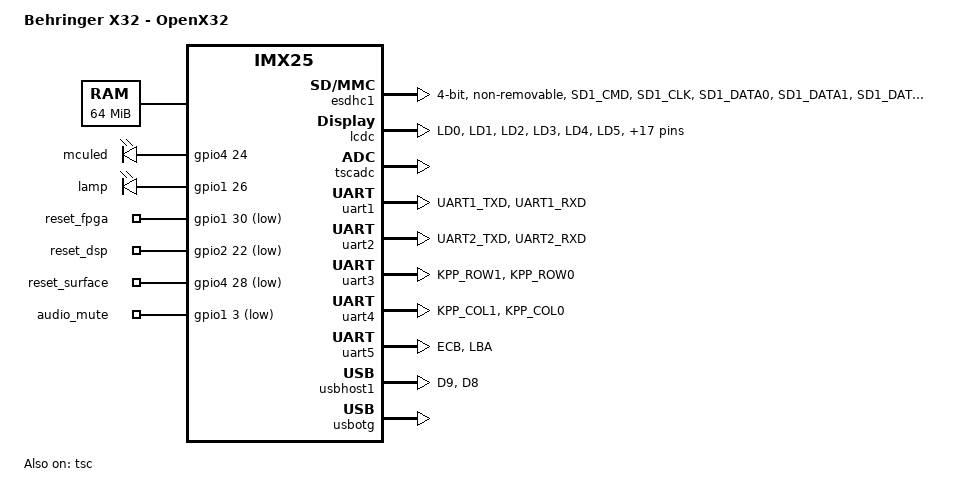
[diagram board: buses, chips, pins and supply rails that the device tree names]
// SPDX-License-Identifier: GPL-2.0+
//
// Copyright 2013 Freescale Semiconductor, Inc.

/dts-v1/;
#include <dt-bindings/gpio/gpio.h>
#include <dt-bindings/input/input.h>
#include <dt-bindings/sound/fsl-imx-audmux.h>
#include <arm/nxp/imx/imx25.dtsi>

/ {
	model = "Behringer X32 - OpenX32";
	compatible = "fsl,imx25-openx32", "fsl,imx25";

	memory@80000000 {
		device_type = "memory";
		reg = <0x80000000 0x04000000>;
	};

	sound {
		compatible = "simple-audio-card";
		status = "okay";
//		ssi-controller = <&ssi1>;
		simple-audio-card,name = "imx25_soundcard";
		simple-audio-card,format = "i2s";
		simple-audio-card,bitclock-master = <&sound_master>;
		simple-audio-card,frame-master = <&sound_master>;
		
//		mux-int-port = <1>;
//		mux-ext-port = <6>;

		simple-audio-card,routing =
			"LINE_IN", "Audio input",
			"Audio output", "LINE_OUT";

		sound_master: simple-audio-card,cpu {
			sound-dai = <&ssi1>;
		};

		simple-audio-card,codec {
			sound-dai = <&dummy_codec>;
		};

		dummy_codec: codec {
		    compatible = "linux,snd-soc-dummy";
		    #sound-dai-cells = <0>;
		    status = "okay";
		};
	};

	wvga: display {
		model = "Innolux-AT070TN";
		bits-per-pixel = <32>;
		bus-width = <18>;
		fsl,pcr = <0xFC228080>;
		display-timings {
			native-mode = <&wvga_timings>;
			wvga_timings: timing0 {
				hactive = <800>;
				hfront-porch = <210>;
				hback-porch = <52>;
				hsync-len = <1>;
				vactive = <480>;
				vfront-porch = <22>;
				vback-porch = <22>;
				vsync-len = <1>;
				clock-frequency = <40000000>;
				hsync-active = <0>; // asserted when LOW
				vsync-active = <0>; // asserted when LOW
				de-active = <1>; // asserted when HIGH
				pixelclk-active = <1>; // 1 = falling edge
			};
		};
	};

        leds {
			compatible = "gpio-leds";
			pinctrl-names = "default";
			pinctrl-0 = <&pinctrl_gpioleds>;

			mculed {
				label = "mculed";
				gpios = <&gpio4 24 GPIO_ACTIVE_HIGH>;
				linux,default-trigger = "heartbeat";
			};

			lamp {
				label = "lamp";
				gpios = <&gpio1 26 GPIO_ACTIVE_HIGH>;
				default-state = "on";
			};

			reset_fpga {
				label = "reset_fpga";
				gpios = <&gpio1 30 GPIO_ACTIVE_LOW>;
				default-state = "off";
			};

			reset_dsp {
				label = "reset_dsp";
				gpios = <&gpio2 22 GPIO_ACTIVE_LOW>;
				default-state = "off";
			};

			reset_surface {
				label = "reset_surface";
				gpios = <&gpio4 28 GPIO_ACTIVE_LOW>;
				default-state = "off";
			};

			audio_mute {
				label = "audio_mute";
				gpios = <&gpio1 3 GPIO_ACTIVE_LOW>;
				default-state = "off";
			};
        };
};

&esdhc1 {
	pinctrl-names = "default";
	pinctrl-0 = <&pinctrl_esdhc1>;
	bus-width = <4>;
	max-frequency = <50000000>;
    non-removable;
	status = "okay";
};

&iomuxc {
	imx25-pdk {
		pinctrl_esdhc1: esdhc1grp {
			fsl,pins = <
				// values from DCP-Loader
				MX25_PAD_SD1_CMD__ESDHC1_CMD		0x000000D1
				MX25_PAD_SD1_CLK__ESDHC1_CLK		0x000000D1
				MX25_PAD_SD1_DATA0__ESDHC1_DAT0		0x000000D1
				MX25_PAD_SD1_DATA1__ESDHC1_DAT1		0x000000D1
				MX25_PAD_SD1_DATA2__ESDHC1_DAT2		0x000000D1
				MX25_PAD_SD1_DATA3__ESDHC1_DAT3		0x000000D10
			>;
		};

		pinctrl_i2c1: i2c1grp {
			fsl,pins = <
				MX25_PAD_I2C1_CLK__I2C1_CLK		0x80000000
				MX25_PAD_I2C1_DAT__I2C1_DAT		0x80000000
			>;
		};

		pinctrl_lcd: lcdgrp {
			fsl,pins = <
				// values from DCP-Loader
				MX25_PAD_LD0__LD0		0x0	// Slow Slew Rate, Standard drive strength, CMOS, 3.3V
				MX25_PAD_LD1__LD1		0x0
				MX25_PAD_LD2__LD2		0x0
				MX25_PAD_LD3__LD3		0x0
				MX25_PAD_LD4__LD4		0x0
				MX25_PAD_LD5__LD5		0x0
				MX25_PAD_LD6__LD6		0x0
				MX25_PAD_LD7__LD7		0x0
				MX25_PAD_LD8__LD8		0x0
				MX25_PAD_LD9__LD9		0x0
				MX25_PAD_LD10__LD10		0x0
				MX25_PAD_LD11__LD11		0x0
				MX25_PAD_LD12__LD12		0x0
				MX25_PAD_LD13__LD13		0x0
				MX25_PAD_LD14__LD14		0x0
				MX25_PAD_LD15__LD15		0x0
				MX25_PAD_D15__LD16		0x0
				MX25_PAD_D14__LD17		0x0
				MX25_PAD_HSYNC__HSYNC		0x0
				MX25_PAD_VSYNC__VSYNC		0x0
				MX25_PAD_LSCLK__LSCLK		0x0
				MX25_PAD_OE_ACD__OE_ACD		0x0
				MX25_PAD_CONTRAST__CONTRAST	0x00
			>;
		};

pinctrl_uart1: uart1grp {
			fsl,pins = <
				// values from DCP-Loader
				MX25_PAD_UART1_TXD__UART1_TXD	0x0
				MX25_PAD_UART1_RXD__UART1_RXD	0xc0 // 100 KOhm pull down
			>;
		};

		pinctrl_uart2: uart2grp {
			fsl,pins = <
				// values from DCP-Loader
				MX25_PAD_UART2_TXD__UART2_TXD   0x0
				MX25_PAD_UART2_RXD__UART2_RXD   0xc0 // 100 KOhm pull down
			>;
		};
		
		pinctrl_uart3: uart3grp {
			fsl,pins = <
				MX25_PAD_KPP_ROW1__UART3_TXD    0x0
				MX25_PAD_KPP_ROW0__UART3_RXD    0xc0 // 100 KOhm pull down
			>;
		};
		
		pinctrl_uart4: uart4grp {
			fsl,pins = <
				MX25_PAD_KPP_COL1__UART4_TXD    0x0
				MX25_PAD_KPP_COL0__UART4_RXD    0xc0 // 100 KOhm pull down
			>;
		};
		
		pinctrl_uart5: uart5grp {
			fsl,pins = <
				MX25_PAD_ECB__UART5_TXD		0x0
				MX25_PAD_LBA__UART5_RXD		0xc0 // 100 KOhm pull down
			>;
		};
		
		pinctrl_usbh1_pwr: usbh1_pwr_pins {
			fsl,pins = <

				// values from DCP-Loader
				MX25_PAD_D9__GPIO_4_11		0x80 // Keeper enabled
				MX25_PAD_D8__GPIO_4_12		0xE0 // Pull up 100KOhm

			>;
		};

		pinctrl_gpioleds: gpioledgrp {
			fsl,pins = <
				MX25_PAD_UART1_RTS__GPIO_4_24	0x0		// MCU_LED
				MX25_PAD_PWM__GPIO_1_26		0x0			// Desk-LAMP
				MX25_PAD_CSI_D5__GPIO_1_30	0x0			// FPGA nPROG
				//MX25_PAD_GPIO_C__GPIO_1_2	0x0C		// FPGA DONE
				MX25_PAD_CSPI1_RDY__GPIO_2_22	0x0     // DSP nRESET
				MX25_PAD_UART2_RTS__GPIO_4_28	0x0		// Surface nRESET
				MX25_PAD_GPIO_D__GPIO_1_3	0x0			// MUTEOFF
			>;
		};

		pinctrl_gpio1: gpio1grp {
			fsl,pins = <
				//MX25_PAD_CSI_D5__GPIO_1_30	0x0	// FPGA nPROG
				MX25_PAD_GPIO_C__GPIO_1_2	0xc0		// FPGA DONE
			>;
		};
	};
};

&lcdc {
	display = <&wvga>;
	fsl,lpccr = <0x00a903ff>;
	pinctrl-names = "default";
	pinctrl-0 = <&pinctrl_lcd>;
	status = "okay";
};



&tsc {
	status = "okay";
};

&tscadc {
	status = "okay";
};

&uart1 {
	pinctrl-names = "default";
	pinctrl-0 = <&pinctrl_uart1>;
	status = "okay";
};

&uart2 {
        pinctrl-names = "default";
        pinctrl-0 = <&pinctrl_uart2>;
        status = "okay";
};

&uart3 {
        pinctrl-names = "default";
        pinctrl-0 = <&pinctrl_uart3>;
        status = "okay";
};

&uart4 {
        pinctrl-names = "default";
        pinctrl-0 = <&pinctrl_uart4>;
        status = "okay";
};

&uart5 {
	pinctrl-names = "default";
	pinctrl-0 = <&pinctrl_uart5>;
	status = "okay";
};

&gpio1 {
	pinctrl-names = "default";
	pinctrl-0 = <&pinctrl_gpio1>;
	status = "okay";
};

&usbhost1 {
	power-gpios = <&gpio4 11 GPIO_ACTIVE_HIGH>;
	over-current-gpios = <&gpio4 12 GPIO_ACTIVE_LOW>;
	pinctrl-names = "default";
	pinctrl-0 = <&pinctrl_usbh1_pwr>;
	status = "okay";
};

&usbotg {
	external-vbus-divider;
	status = "okay";
};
